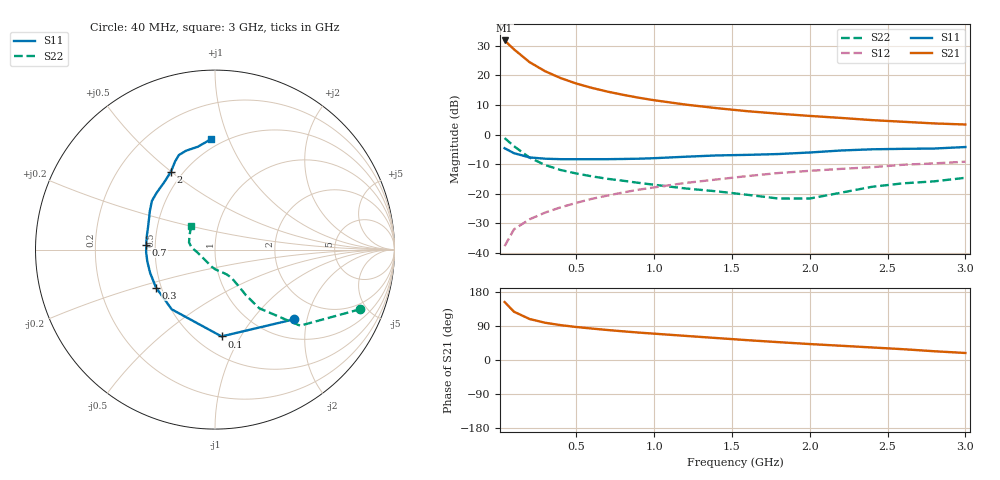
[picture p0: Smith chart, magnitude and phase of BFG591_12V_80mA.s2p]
! Filename:  BFG591H.S2P  Version:  4.0
! Philips part #: BFG591  Date: Jun 1994
! Bias condition: Vce=12V; Ic=80mA
#  MHz  S  MA  R  50
! Freq  S11  S21  S12  S22  !GUM [dB]
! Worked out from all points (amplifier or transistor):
!   21 points, 40 MHz to 3 GHz, reference 50 ohm
!   highest |S21| = 31.8 dB at 40 MHz (marker M1)
!   |S21| within 3 dB of that: start of sweep to 100 MHz
!   unconditionally stable (mu >= 1): 614.4 MHz to 2.197 GHz
!   at 300 MHz: K = 0.84, MSG = 23.9 dB, |S12| = -26.4 dB
!   at 1 GHz: K = 1.05, MAG = 13.4 dB, |S12| = -17.9 dB
!   at 3 GHz: K = 0.95, MSG = 6.3 dB, |S12| = -9.2 dB
!   S11 on the Smith chart (normalised r, x): 40 MHz: 1.42, -1.68; 100 MHz: 0.66, -0.83; 300 MHz: 0.47, -0.23; 700 MHz: 0.45, +0.03; 2 GHz: 0.43, +0.50; 3 GHz: 0.44, +0.87
40  0.588 -41.3  38.97 153.0  0.013 72.8  0.875 -22.3
100  0.485 -85.7  27.59 127.5  0.025 62.0  0.636 -41.8
200  0.411 -125.9  16.77 108.2  0.037 60.1  0.409 -53.0
300  0.391 -147.2  11.77 98.3  0.048 62.7  0.306 -55.9
400  0.384 -160.5  9.01 92.0  0.059 64.5  0.252 -56.8
500  0.383 -170.0  7.296 87.1  0.07 66.1  0.22 -57.9
600  0.384 -177.8  6.157 83.0  0.082 66.8  0.197 -58.9
700  0.384 175.8  5.328 79.2  0.093 67.0  0.179 -60.3
800  0.387 169.6  4.703 75.7  0.105 67.0  0.166 -62.1
900  0.391 163.5  4.204 72.4  0.117 67.1  0.153 -64.7
1000  0.399 158.1  3.808 69.5  0.128 66.7  0.142 -68.4
1200  0.422 149.3  3.219 63.7  0.152 65.2  0.123 -77.9
1400  0.444 142.4  2.801 58.0  0.174 63.4  0.11 -89.5
1600  0.454 135.7  2.483 52.3  0.199 62.1  0.096 -102.3
1800  0.469 127.4  2.255 47.1  0.224 59.1  0.083 -120.1
2000  0.498 119.6  2.067 42.1  0.244 57.2  0.083 -149.9
2200  0.538 114.5  1.912 37.6  0.263 55.0  0.104 -174.0
2400  0.564 110.9  1.756 33.1  0.281 54.0  0.131 174.9
2600  0.574 106.3  1.646 28.5  0.309 50.3  0.15 164.7
2800  0.581 99.5  1.543 23.1  0.326 46.3  0.162 151.2
3000  0.616 92.0  1.479 18.5  0.348 44.8  0.186 135.8
